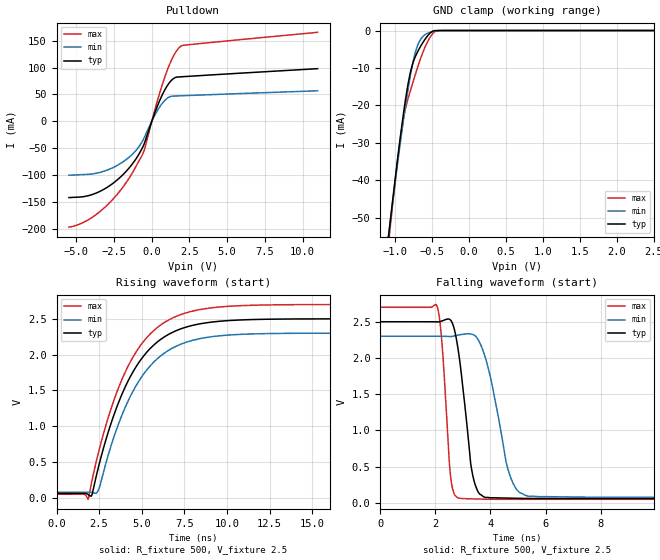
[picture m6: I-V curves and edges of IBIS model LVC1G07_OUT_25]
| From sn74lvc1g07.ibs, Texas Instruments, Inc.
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[Model]   LVC1G07_OUT_25
Model_type  Open_drain
Enable   Active-Low
Vref =   0
Rref =   500
Cref =   30p
Vmeas =   1.25
| variable   typ   min   max
C_comp   3.52pF   2.62pF   4.98pF
| C_pulldown   7.62pF   4.49pF   11.36pF
| C_tri-state   3.52pF   2.62pF   4.98pF
[Temperature Range]   40   100   -40
| Ambient temperature   25   85   -40
[Voltage range]   2.5   2.3   2.7
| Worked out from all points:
|   slope of the pulldown table from 0 to 0.375 V, typ, clamps not added: 13.1 ohm
|   GND clamp passes 1 mA (typ) near -0.54 V on its own axis
|   rising waveform, R_fixture 500, V_fixture 2.5: 20-80 % time 2.63ns typ, 2.6ns min, 2.65ns max; typ from 0.06 V to 2.5 V
|   falling waveform, R_fixture 500, V_fixture 2.5: 20-80 % time 415ps typ, 673ps min, 257ps max; typ from 2.5 V to 0.06 V
[GND Clamp]
| LVC1G07_OUT_25
|   Voltage   I(typ)   I(min)   I(max)
-5.5V     -945.7mA   -886mA     -1.02A
-1.095V   -56.19mA   -55.94mA   -58.19mA
-1.065V   -50.97mA   -51.08mA   -52.51mA
-970mV    -35.03mA   -36.19mA   -35.49mA
-905mV    -24.93mA   -26.58mA   -25.68mA
-865mV    -19.31mA   -21.02mA   -21.33mA
-810mV    -12.84mA   -14.03mA   -17.23mA
-715mV    -6.5mA     -5.132mA   -11.08mA
-600mV    -2.503mA   -1.182mA   -4.697mA
-500mV    -283.6uA   -350.6uA   -1.082mA
-420mV    -4.503uA   -79.35uA   -10.75uA
2.5V      22.51pA    267pA      829.1pA
[Pulldown]
| LVC1G07_OUT_25
|   Voltage   I(typ)   I(min)   I(max)
-5.5V     -142.4mA   -100.7mA   -197.5mA
-4.465V   -140.3mA   -99.34mA   -187.5mA
-3.39V    -130mA     -95.01mA   -167.2mA
-2.33V    -110.2mA   -82.92mA   -137.3mA
-1.385V   -82.99mA   -64.02mA   -100.7mA
-880mV    -62.54mA   -48.39mA   -75.36mA
-515mV    -42.71mA   -31.15mA   -54.71mA
280mV     21.79mA    15.31mA    29.23mA
875mV     59.03mA    39.04mA    83.37mA
1.385V    78.31mA    46.75mA    118.6mA
1.885V    82.66mA    47.32mA    138.9mA
11V       97.9mA     56.67mA    165.7mA
[Ramp]
| LVC1G07_OUT_25
| variable   typ   min   max
dV/dt_r   1.49/2.65E-09   1.34/2.63E-09   1.63/2.68E-09
dV/dt_f   1.49/4.33E-10   1.35/7.22E-10   1.61/2.63E-10
R_load = 500
[Rising Waveform]
| LVC1G07_OUT_25
R_fixture =   500
C_fixture =   0
L_fixture =   0
V_fixture =   2.5
V_fixture_min = 2.3
V_fixture_max = 2.7
|   Time   V(typ)   V(min)   V(max)
0s        60.06mV    77.04mV    49.31mV
1.855ns   43.69mV    77.36mV    -23.05mV
2.07ns    35.17mV    72.4mV     225.7mV
2.475ns   441.4mV    116.2mV    643.4mV
3.245ns   1.071V     759.2mV    1.276V
4.065ns   1.565V     1.28V      1.772V
5.36ns    2.05V      1.803V     2.254V
6.87ns    2.318V     2.099V     2.518V
10.81ns   2.484V     2.283V     2.684V
24.99ns   2.5V       2.3V       2.7V
[Falling Waveform]
| LVC1G07_OUT_25
R_fixture =   500
C_fixture =   0
L_fixture =   0
V_fixture =   2.5
V_fixture_min = 2.3
V_fixture_max = 2.7
|   Time   V(typ)   V(min)   V(max)
0s        2.5V       2.3V       2.7V
2.06ns    2.498V     2.3V       2.715V
2.235ns   2.51V      2.3V       2.225V
2.55ns    2.523V     2.296V     379.9mV
2.83ns    2.109V     2.316V     66.24mV
3.285ns   536.9mV    2.331V     56.3mV
3.53ns    168.7mV    2.266V     53.32mV
4.68ns    65.16mV    409.1mV    48.93mV
5.335ns   61.3mV     95.43mV    49mV
24.99ns   60.06mV    77.04mV    49.31mV
